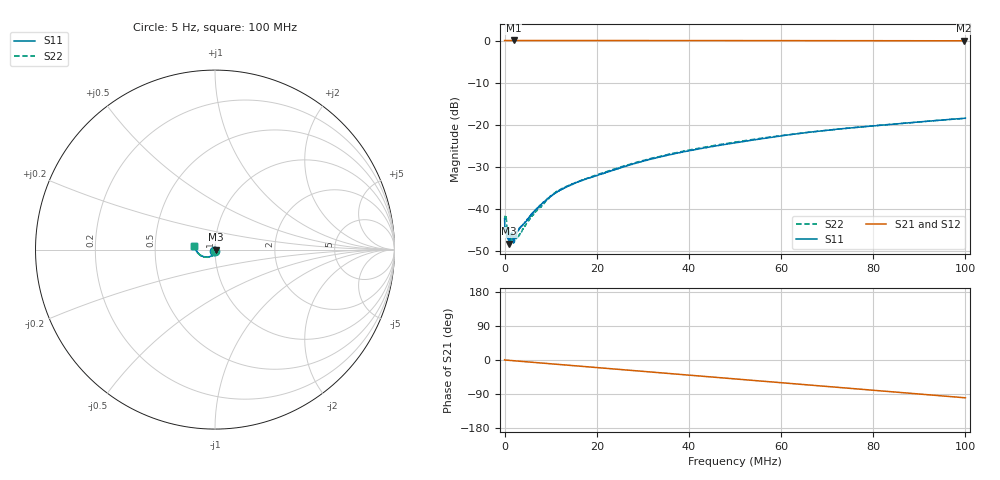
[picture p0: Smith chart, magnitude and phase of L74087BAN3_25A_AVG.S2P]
!Agilent Technologies,E5061B,MY49102235,A.02.00
!Date: Tue Jul 11 15:18:14 2023
!Data & Calibration Information:
!Freq	S11:SOLT2(ON)	S21:SOLT2(ON)	S12:SOLT2(ON)	S22:SOLT2(ON)
# Hz S RI R 50
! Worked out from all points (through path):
!   1600 points, 5 Hz to 100 MHz, reference 50 ohm
!   highest |S21| = 0.02 dB at 2.001 MHz (marker M1); lowest = -0.1 dB at 99.75 MHz (marker M2)
!   group delay of S21, straight-line fit = 2.77 ns
!   lowest |S11| = -48.2 dB at 1.001 MHz (marker M3), VSWR 1.01, Z = 50.4 - j0.0804 ohm
!   |S11| at or under -10 dB: start of sweep to end of sweep
!   |S22| runs from -48.8 to -18.4 dB; largest |S21 - S12| = 0.0027
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5  -0.00517 -0.00563  1.002 0.00791  1 0.0103  -0.00161 -0.00755
437778.6  0.00513 -0.000596  1.001 -0.00543  1.001 -0.00606  0.00661 -0.00225
625395.8  0.00507 -0.000664  1.002 -0.0105  1.002 -0.00986  0.00609 -0.00105
1000630  0.0038 -0.000798  1.001 -0.0164  1.001 -0.0159  0.00518 -0.00172
1563482  0.00437 -0.00294  1.001 -0.0262  1.001 -0.0253  0.00317 -0.00354
2001256  0.00305 -0.00288  1.002 -0.035  1.001 -0.0345  0.00319 -0.0026
2376490  0.00333 -0.00306  0.9999 -0.0411  1 -0.0413  0.00396 -0.00274
3252037  0.00425 -0.00429  0.9995 -0.0566  0.9992 -0.0562  0.00317 -0.00379
4690436  0.00374 -0.00612  0.9978 -0.0815  0.9974 -0.0813  0.00346 -0.00578
6003757  0.00332 -0.00807  0.9955 -0.1043  0.9955 -0.1039  0.0029 -0.00789
9505946  0.00144 -0.0134  0.9874 -0.1651  0.9874 -0.1646  0.000868 -0.0134
1.156974e7  -9.86e-05 -0.0163  0.9809 -0.2003  0.9805 -0.1999  -0.000928 -0.0165
1.669794e7  -0.00404 -0.0214  0.9584 -0.2869  0.9583 -0.2865  -0.00434 -0.0216
2.582865e7  -0.0116 -0.0295  0.9011 -0.4351  0.9008 -0.4348  -0.00934 -0.031
3.333334e7  -0.0206 -0.0356  0.8361 -0.5487  0.8359 -0.5482  -0.0191 -0.0371
4.033771e7  -0.0303 -0.0394  0.7627 -0.646  0.7627 -0.6455  -0.0297 -0.041
5.003127e7  -0.045 -0.0413  0.643 -0.7648  0.6429 -0.7643  -0.0452 -0.0429
6.672921e7  -0.0749 -0.0348  0.3958 -0.9154  0.3962 -0.9153  -0.0742 -0.0358
8.33646e7  -0.0999 -0.0124  0.1181 -0.9887  0.1182 -0.9886  -0.0996 -0.0151
9.155722e7  -0.11 0.00293  -0.0237 -0.9942  -0.0235 -0.9942  -0.1102 -0.000878
9.974984e7  -0.1178 0.0201  -0.1645 -0.9795  -0.1641 -0.9797  -0.118 0.0167
1e8  -0.1179 0.0206  -0.1687 -0.979  -0.1684 -0.979  -0.1184 0.0173
